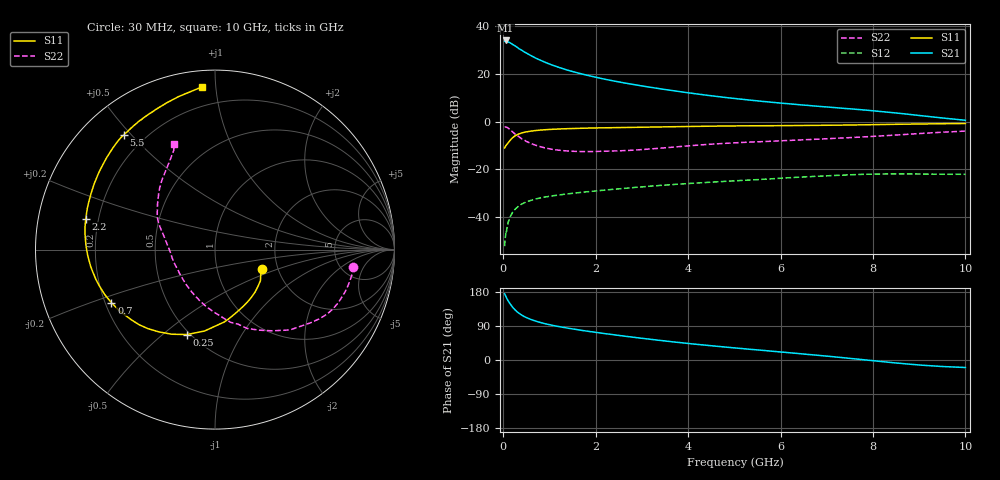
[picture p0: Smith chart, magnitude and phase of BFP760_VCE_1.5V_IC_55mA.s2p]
! Infineon Technologies  Discrete & RF Semiconductors
! BFP760
! VCE =  1.5 V,  IC =  55 mA
! Common Emitter S-Parameters:  Nov 2012
# GHz  S  MA  R  50
!  f  S11  S21  S12  S22
! GHz  MAG  ANG  MAG  ANG  MAG  ANG  MAG  ANG
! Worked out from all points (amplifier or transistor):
!   99 points, 30 MHz to 10 GHz, reference 50 ohm
!   highest |S21| = 33.9 dB at 50 MHz (marker M1)
!   |S21| within 3 dB of that: start of sweep to 311.8 MHz
!   unconditionally stable (mu >= 1): start of sweep to 47.3 MHz; 2.612 GHz to end of sweep
!   at 350 MHz: K = 0.49, MSG = 32.7 dB, |S12| = -35.0 dB
!   at 3.5 GHz: K = 1.09, MAG = 18.2 dB, |S12| = -26.5 dB
!   at 10 GHz: K = 1.13, MAG = 9.1 dB, |S12| = -22.0 dB
!   S11 on the Smith chart (normalised r, x): 30 MHz: 1.65, -0.38; 250 MHz: 0.48, -0.61; 700 MHz: 0.22, -0.23; 2.2 GHz: 0.15, +0.12; 5.5 GHz: 0.12, +0.48; 10 GHz: 0.09, +0.92
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0.03  0.2816 -22.3  47.37 174.5  0.0025 72.5  0.7762 -7.0
0.05  0.3066 -34.4  49.32 169.8  0.0041 67.7  0.772 -12.7
0.07  0.3252 -46.6  49.04 164.3  0.005 78.4  0.7625 -17.9
0.09  0.3421 -57.5  47.71 159.6  0.0065 64.0  0.7477 -23.3
0.12  0.3719 -71.9  45.24 153.6  0.0084 66.9  0.7118 -31.3
0.15  0.4065 -82.7  44.08 148.1  0.0102 62.7  0.6695 -37.6
0.2  0.4573 -97.3  40.93 139.7  0.0126 58.3  0.6121 -47.0
0.25  0.4985 -108.3  38.37 133.0  0.0145 55.1  0.5544 -54.7
0.35  0.5553 -124.4  32.76 122.6  0.0177 49.9  0.4739 -67.9
0.45  0.5945 -135.2  28.61 114.9  0.02 46.4  0.4148 -77.8
0.6  0.6314 -147.0  23.84 106.9  0.0226 43.4  0.3477 -91.1
0.7  0.6488 -152.9  21.18 102.7  0.0242 41.5  0.3207 -98.9
0.9  0.674 -162.1  17.38 95.9  0.0265 38.9  0.2817 -112.6
1.1  0.6913 -169.3  14.64 90.6  0.0284 37.9  0.2594 -124.2
1.7  0.7241 175.6  9.854 78.2  0.0333 37.0  0.2358 -149.6
2.2  0.7403 166.5  7.645 69.6  0.037 37.1  0.2406 -164.2
3.4  0.7719 148.5  4.825 51.6  0.0464 36.4  0.2781 170.2
5.1  0.812 131.4  2.962 30.9  0.0585 33.0  0.3632 151.7
5.5  0.8166 128.5  2.704 26.6  0.0613 32.1  0.3776 148.5
6.7  0.832 120.3  2.126 13.6  0.0713 27.9  0.4243 138.5
8.5  0.8759 103.5  1.511 -7.9  0.0809 16.0  0.5228 121.3
10  0.9102 94.6  1.063 -19.8  0.0792 10.8  0.6322 111.0
